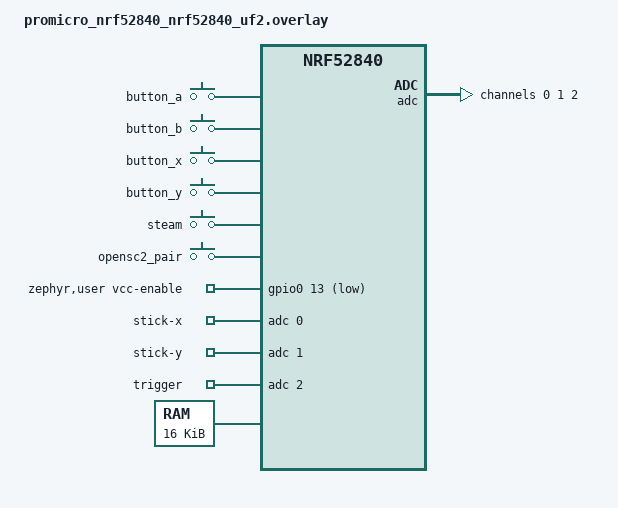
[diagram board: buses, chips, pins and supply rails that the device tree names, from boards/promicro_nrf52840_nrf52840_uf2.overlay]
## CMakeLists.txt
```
# Copyright (c) 2026 the OpenSC2-Controller authors
# SPDX-License-Identifier: MIT
cmake_minimum_required(VERSION 3.20.0)

# The OpenSC2 library is a Zephyr module: the OpenSC2-Controller repository. Inside the repository
# it is found here. In a copy of this folder elsewhere, set ZEPHYR_EXTRA_MODULES to your
# OpenSC2-Controller folder (environment variable, or -DZEPHYR_EXTRA_MODULES=<folder>), or list the
# repository in your west manifest (docs/integration.md).
if(EXISTS ${CMAKE_CURRENT_LIST_DIR}/../../zephyr/module.yml AND
   EXISTS ${CMAKE_CURRENT_LIST_DIR}/../../include/opensc2/opensc2.h)
  list(APPEND ZEPHYR_EXTRA_MODULES ${CMAKE_CURRENT_LIST_DIR}/../..)
endif()

find_package(Zephyr REQUIRED HINTS $ENV{ZEPHYR_BASE})
project(opensc2_buttons_sticks LANGUAGES C)

target_sources(app PRIVATE src/main.c)
```

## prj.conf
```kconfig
# Copyright (c) 2026 the OpenSC2-Controller authors
# SPDX-License-Identifier: MIT
#
# Buttons, one stick and one trigger from the devicetree, wired or wireless.
# The SuperMini's own lines (its clock) are in boards/promicro_nrf52840_nrf52840_uf2.conf.

# The library. The puck sends packets of up to 128 bytes; the real controller keeps two replies
# queued.
CONFIG_OPENSC2=y
CONFIG_ESB_MAX_PAYLOAD_LENGTH=128
CONFIG_ESB_TX_FIFO_SIZE=2

# Buttons (gpio-keys, through Zephyr's input subsystem) and the ADC for the stick and trigger.
CONFIG_GPIO=y
CONFIG_INPUT=y
CONFIG_ADC=y

# Wired mode (the overlay chooses the HID node). The library runs the USB device, so the board's
# own serial port does not start at boot; in wireless mode the library shows it as the console.
# Eight report buffers, and room on the stacks for the vendor commands that write flash.
CONFIG_CDC_ACM_SERIAL_INITIALIZE_AT_BOOT=n
CONFIG_USBD_HID_IN_BUF_COUNT=8
CONFIG_USBD_THREAD_STACK_SIZE=2048
CONFIG_SYSTEM_WORKQUEUE_STACK_SIZE=2048

# Bonds survive a reboot in Zephyr settings, on NVS in the board's storage partition. Steam's
# pairing over the cable stores the bond and then reboots the board: without these it is lost.
CONFIG_FLASH=y
CONFIG_FLASH_MAP=y
CONFIG_NVS=y
CONFIG_SETTINGS=y
CONFIG_SETTINGS_NVS=y

# Log and shell on the USB serial port in wireless mode ("opensc2 status", "opensc2 state"). The
# shell prints the log, so the plain UART log output is off (it would print every line twice).
# While wired the log goes into the USB session log, and the log thread needs a bigger stack.
CONFIG_LOG=y
CONFIG_LOG_PROCESS_THREAD_STACK_SIZE=1536
CONFIG_SHELL=y
CONFIG_LOG_BACKEND_UART=n
CONFIG_SHELL_PROMPT_UART="opensc2:~$ "
CONFIG_MAIN_STACK_SIZE=2048

# The analog loop in main() runs below the radio thread (priority 5).
CONFIG_MAIN_THREAD_PRIORITY=7
```

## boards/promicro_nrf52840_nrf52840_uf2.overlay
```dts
/*
 * Copyright (c) 2026 the OpenSC2-Controller authors
 * SPDX-License-Identifier: MIT
 *
 * SuperMini / Pro Micro nRF52840: five buttons, a pairing button, one analog stick and one analog
 * trigger. Buttons between pin and GND (the internal pull-ups hold them released); potentiometers
 * between VCC and GND, wiper to the pin. Silkscreen labels: "009" is P0.09, "111" is P1.11.
 *
 *   P1.15 A    P1.13 B    P1.11 X    P0.10 Y    P1.04 STEAM    P0.09 pairing button
 *   P0.02 (AIN0) left stick X    P0.29 (AIN5) left stick Y    P0.31 (AIN7) right trigger
 *
 * The SuperMini has only three analog pins (P0.02, P0.29, P0.31), and the stick and the trigger
 * take all three, so the pairing button moves from P0.31 (its pin in the other samples) to P0.09.
 */
#include <dt-bindings/opensc2/inputs.h>

#define BUTTON(port, pin) <&gpio##port pin (GPIO_PULL_UP | GPIO_ACTIVE_LOW)>

/ {
	/* zephyr,code is the bit of the Steam Controller 2 button word (dt-bindings/opensc2/inputs.h);
	 * OPENSC2_KEY_PAIR marks the pairing button. */
	opensc2_buttons: opensc2_buttons {
		compatible = "gpio-keys";
		debounce-interval-ms = <5>;
		button_a { gpios = BUTTON(1, 15); zephyr,code = <OPENSC2_KEY_A>; };
		button_b { gpios = BUTTON(1, 13); zephyr,code = <OPENSC2_KEY_B>; };
		button_x { gpios = BUTTON(1, 11); zephyr,code = <OPENSC2_KEY_X>; };
		button_y { gpios = BUTTON(0, 10); zephyr,code = <OPENSC2_KEY_Y>; };
		steam    { gpios = BUTTON(1, 4);  zephyr,code = <OPENSC2_KEY_STEAM>; };
		/* Held while plugging in: this boot is wireless. Pressed and released while wired:
		 * back to wireless mode. Pressed while wireless: answers an open pairing window. */
		opensc2_pair: pair { gpios = BUTTON(0, 9); zephyr,code = <OPENSC2_KEY_PAIR>; };
	};

	zephyr,user {
		io-channels = <&adc 0>, <&adc 1>, <&adc 2>;
		io-channel-names = "stick-x", "stick-y", "trigger";
		/* nice!nano-style boards switch VCC with P0.13 (low = on); check yours. */
		vcc-enable-gpios = <&gpio0 13 GPIO_ACTIVE_LOW>;
	};

	/* Wired mode: the USB HID function of the wired Steam Controller 2 (64-byte reports, 1 ms),
	 * and 16 KB of RAM that a soft reset keeps (the warm-restart mark, the USB session log), clear
	 * of the RAM the UF2 bootloader uses at every reset (docs/porting.md). */
	chosen {
		opensc2,usb-hid = &opensc2_hid;
		opensc2,retained-ram = &opensc2_retained;
	};

	opensc2_hid: opensc2_hid {
		compatible = "zephyr,hid-device";
		in-report-size = <64>;
		in-polling-period-us = <1000>;
		out-report-size = <64>;
		out-polling-period-us = <1000>;
	};

	opensc2_retained: memory@2002c000 {
		compatible = "zephyr,memory-region", "mmio-sram";
		reg = <0x2002c000 DT_SIZE_K(16)>;
		zephyr,memory-region = "OPENSC2_RETAINED";
	};
};

/* The application's RAM ends below the retained area (176 KB of the 256). */
&sram0 {
	reg = <0x20000000 DT_SIZE_K(176)>;
};

/* The analog inputs: gain 1/4 of VDD/4, so full scale is VDD, ratiometric with potentiometers
 * powered from VCC. The AIN number picks the pin: AIN0 = P0.02, AIN5 = P0.29, AIN7 = P0.31. */
&adc {
	#address-cells = <1>;
	#size-cells = <0>;
	status = "okay";

	channel@0 {
		reg = <0>;
		zephyr,gain = "ADC_GAIN_1_4";
		zephyr,reference = "ADC_REF_VDD_1_4";
		zephyr,acquisition-time = <ADC_ACQ_TIME(ADC_ACQ_TIME_MICROSECONDS, 10)>;
		zephyr,input-positive = <NRF_SAADC_AIN0>;   /* P0.02: stick X */
		zephyr,resolution = <12>;
	};
	channel@1 {
		reg = <1>;
		zephyr,gain = "ADC_GAIN_1_4";
		zephyr,reference = "ADC_REF_VDD_1_4";
		zephyr,acquisition-time = <ADC_ACQ_TIME(ADC_ACQ_TIME_MICROSECONDS, 10)>;
		zephyr,input-positive = <NRF_SAADC_AIN5>;   /* P0.29: stick Y */
		zephyr,resolution = <12>;
	};
	channel@2 {
		reg = <2>;
		zephyr,gain = "ADC_GAIN_1_4";
		zephyr,reference = "ADC_REF_VDD_1_4";
		zephyr,acquisition-time = <ADC_ACQ_TIME(ADC_ACQ_TIME_MICROSECONDS, 10)>;
		zephyr,input-positive = <NRF_SAADC_AIN7>;   /* P0.31: trigger */
		zephyr,resolution = <12>;
	};
};

/* The board's UART uses P0.09 and P0.10, its second I2C bus P1.04: both off. The log and the
 * shell are on the USB serial port. */
&uart0 { status = "disabled"; };
&i2c1 { status = "disabled"; };

/* Each button above takes one of the nRF52840's eight GPIOTE channels. With more than eight,
 * gpio-keys fails on the ninth (-ENOMEM); then take edges from the GPIO sense mechanism
 * instead, as app/ does:
 *   &gpio0 { sense-edge-mask = <0xffffffff>; };
 *   &gpio1 { sense-edge-mask = <0xffff>; };
 */
```

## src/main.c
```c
/*
 * Copyright (c) 2026 the OpenSC2-Controller authors
 * SPDX-License-Identifier: MIT
 *
 * Buttons, a stick and a trigger from the devicetree, wired or wireless:
 *  - a gpio-keys node (opensc2_buttons) whose zephyr,code values are bits of the controller's
 *    button word, read through Zephyr's input subsystem;
 *  - ADC channels named in zephyr,user ("stick-x", "stick-y", "trigger"), read in main();
 *  - the pairing button, with the same rules in every sample (pair_button() below).
 * The full version (every input, auto-ranging, unwired pins held neutral) is app/src/inputs.c.
 * There is no power_request callback: the library does the reboots Steam asks for itself, and it
 * ignores Steam's request to enter a bootloader for a firmware update.
 */
#include <stdlib.h>
#include <zephyr/kernel.h>
#include <zephyr/drivers/adc.h>
#include <zephyr/drivers/gpio.h>
#include <zephyr/input/input.h>
#include <zephyr/logging/log.h>
#include <opensc2/opensc2.h>

LOG_MODULE_REGISTER(buttons_sticks, LOG_LEVEL_INF);

#define USER DT_PATH(zephyr_user)

static const struct adc_dt_spec stick_x = ADC_DT_SPEC_GET_BY_NAME(USER, stick_x);
static const struct adc_dt_spec stick_y = ADC_DT_SPEC_GET_BY_NAME(USER, stick_y);
static const struct adc_dt_spec trigger = ADC_DT_SPEC_GET_BY_NAME(USER, trigger);
static const struct gpio_dt_spec vcc = GPIO_DT_SPEC_GET(USER, vcc_enable_gpios);

/* ---- The pairing button: the same rules in every sample ------------------------------------- */

static const struct gpio_dt_spec pair_pin = GPIO_DT_SPEC_GET(DT_NODELABEL(opensc2_pair), gpios);
static bool pair_held_at_boot;   /* the press that chose wireless: ignored until it is released */
static bool pair_down;

/* Is the button held while the board starts? gpio-keys has already set the pin up with its
 * pull-up. Read twice, 5 ms apart: a bouncing contact counts as released. */
static bool pair_held(void)
{
	if (!gpio_is_ready_dt(&pair_pin) || gpio_pin_get_dt(&pair_pin) != 1) {
		return false;
	}
	k_msleep(5);
	return gpio_pin_get_dt(&pair_pin) == 1;
}

/* Wired: pressed and released, reboot into wireless mode (on the release, so that the button is
 * up again at the next boot). Wireless: pressed, answer a puck's open pairing window (untested
 * with Steam, which pairs controllers over the cable). */
static void pair_button(bool pressed)
{
	if (pair_held_at_boot) {
		pair_held_at_boot = pressed;   /* released: a normal button from now on */
		return;
	}
	if (opensc2_mode() == OPENSC2_MODE_WIRED) {
		if (pair_down && !pressed) {
			opensc2_reboot_later(OPENSC2_REBOOT_WIRELESS, "pair button", 0);
		}
	} else if (pressed) {
		opensc2_pair_start(0);   /* 0: the default window, 60 s */
	}
	pair_down = pressed;
}

/* ---- Buttons: each key's code is the bit to set ---------------------------------------------- */

static void on_button(struct input_event *evt, void *user_data)
{
	ARG_UNUSED(user_data);
	if (evt->type != INPUT_EV_KEY) {
		return;
	}
	if (evt->code == OPENSC2_KEY_PAIR) {
		pair_button(evt->value != 0);
	} else if (evt->code < 32) {
		opensc2_set_buttons(BIT(evt->code), evt->value ? BIT(evt->code) : 0);
	}
}
INPUT_CALLBACK_DEFINE(DEVICE_DT_GET(DT_NODELABEL(opensc2_buttons)), on_button, NULL);

/* ---- The stick and the trigger --------------------------------------------------------------- */

static int32_t read_adc(const struct adc_dt_spec *spec)
{
	int16_t sample = 0;
	struct adc_sequence seq = { .buffer = &sample, .buffer_size = sizeof(sample) };

	adc_sequence_init_dt(spec, &seq);
	return adc_read_dt(spec, &seq) == 0 ? MAX(sample, 0) : 2048;
}

/* 12-bit reading to -32767..32767 around `centre`: full output 1600 counts away, 100 counts of
 * dead zone in the middle. */
static int16_t to_axis(int32_t raw, int32_t centre)
{
	int32_t d = raw - centre;
	int32_t mag = CLAMP(abs(d) - 100, 0, 1500);

	return (int16_t)((d < 0 ? -mag : mag) * OPENSC2_AXIS_MAX / 1500);
}

int main(void)
{
	struct opensc2_config config = { .start = true };
	int32_t centre_x, centre_y, rest;
	int err;

	gpio_pin_configure_dt(&vcc, GPIO_OUTPUT_ACTIVE);   /* power the potentiometers */
	adc_channel_setup_dt(&stick_x);
	adc_channel_setup_dt(&stick_y);
	adc_channel_setup_dt(&trigger);
	k_msleep(20);
	centre_x = read_adc(&stick_x);   /* the stick rests in the middle at power-on */
	centre_y = read_adc(&stick_y);
	rest = read_adc(&trigger);       /* and the trigger at its released end */

	if (pair_held()) {
		pair_held_at_boot = true;
		config.boot_mode = OPENSC2_BOOT_WIRELESS;   /* held while plugging in: wireless */
	}
	err = opensc2_init(&config);
	if (err) {
		/* The console still starts (in wireless mode), so this can be read there. */
		LOG_ERR("opensc2_init failed (%d)", err);
	}

	for (;;) {
		int32_t t = CLAMP(read_adc(&trigger) - rest - 80, 0, 3200);

		opensc2_set_stick(OPENSC2_LEFT, to_axis(read_adc(&stick_x), centre_x),
				  to_axis(read_adc(&stick_y), centre_y));
		opensc2_set_trigger(OPENSC2_RIGHT, (uint16_t)(t * OPENSC2_TRIGGER_MAX / 3200));
		k_msleep(4);
	}
	return 0;
}
```
